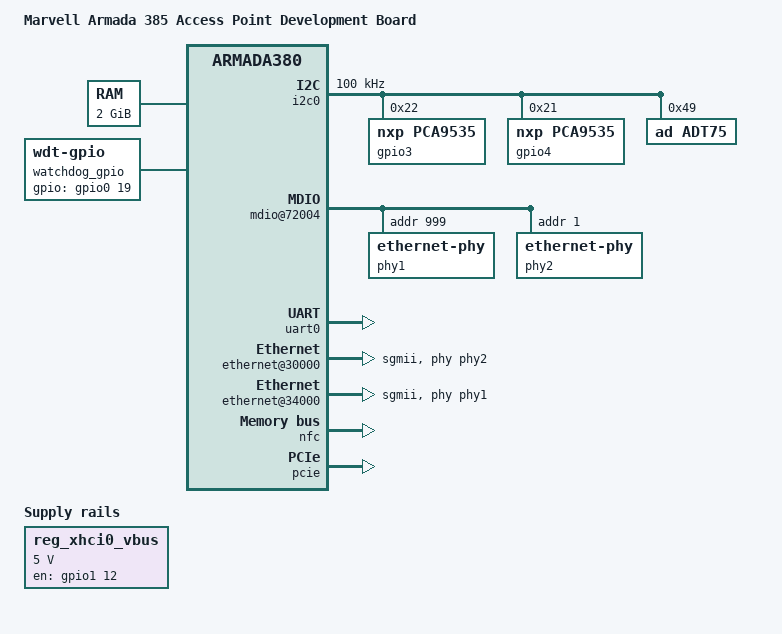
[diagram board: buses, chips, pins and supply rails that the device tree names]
/*
 * Device Tree file for Marvell Armada 385 PT6040 board
 * (DB-88F6820)
 *
 *  Copyright (C) 2014 Marvell
 *
 * Nadav Haklai <nadavh@marvell.com>
 *
 * This file is dual-licensed: you can use it either under the terms
 * of the GPL or the X11 license, at your option. Note that this dual
 * licensing only applies to this file, and not this project as a
 * whole.
 *
 *  a) This file is licensed under the terms of the GNU General Public
 *     License version 2.  This program is licensed "as is" without
 *     any warranty of any kind, whether express or implied.
 *
 * Or, alternatively,
 *
 *  b) Permission is hereby granted, free of charge, to any person
 *     obtaining a copy of this software and associated documentation
 *     files (the "Software"), to deal in the Software without
 *     restriction, including without limitation the rights to use,
 *     copy, modify, merge, publish, distribute, sublicense, and/or
 *     sell copies of the Software, and to permit persons to whom the
 *     Software is furnished to do so, subject to the following
 *     conditions:
 *
 *     The above copyright notice and this permission notice shall be
 *     included in all copies or substantial portions of the Software.
 *
 *     THE SOFTWARE IS PROVIDED "AS IS", WITHOUT WARRANTY OF ANY KIND,
 *     EXPRESS OR IMPLIED, INCLUDING BUT NOT LIMITED TO THE WARRANTIES
 *     OF MERCHANTABILITY, FITNESS FOR A PARTICULAR PURPOSE AND
 *     NONINFRINGEMENT. IN NO EVENT SHALL THE AUTHORS OR COPYRIGHT
 *     HOLDERS BE LIABLE FOR ANY CLAIM, DAMAGES OR OTHER LIABILITY,
 *     WHETHER IN AN ACTION OF CONTRACT, TORT OR OTHERWISE, ARISING
 *     FROM, OUT OF OR IN CONNECTION WITH THE SOFTWARE OR THE USE OR
 *     OTHER DEALINGS IN THE SOFTWARE.
 */

/dts-v1/;
#include "armada-385.dtsi"

#include <dt-bindings/gpio/gpio.h>

/ {
	model = "Marvell Armada 385 Access Point Development Board";
	compatible = "marvell,a385-db-ap", "marvell,armada385", "marvell,armada380";
	chosen {
		stdout-path = "serial1:115200n8";
	};
	memory {
		device_type = "memory";
		reg = <0x00000000 0x80000000>; /* 2GB */
	};
	soc {
		pcie-mem-aperture = <0xe0000000 0x8000000>;
		pcie-io-aperture = <0xe0000000 0x8000000>;
		ranges = <
			MBUS_ID(0x01, 0x2f) 0 0xfd000000 0x800000     /* NOR flash */
			MBUS_ID(0xf0, 0x01) 0 0xf1000000 0x100000
			MBUS_ID(0x01, 0x1d) 0 0xfff00000 0x100000
			MBUS_ID(0x0c, 0x04) 0 0xf1200000 0x100000     /* BM: PHYS=0xf1200000 size 1M */
			MBUS_ID(0x0b, 0x04) 0 0xf1300000 0x100000>;   /* PNC: PHYS=0xf1300000 size 1M */

		devbus-bootcs {
			status = "okay";
			/* Device Bus parameters are required */
			/* Read parameters */
			devbus,bus-width    = <8>;
			devbus,turn-off-ps  = <60000>;
			devbus,badr-skew-ps = <0>;
			devbus,acc-first-ps = <124000>;
			devbus,acc-next-ps  = <248000>;
			devbus,rd-setup-ps  = <0>;
			devbus,rd-hold-ps   = <0>;
			/* Write parameters */
			devbus,sync-enable = <0>;
			devbus,wr-high-ps  = <60000>;
			devbus,wr-low-ps   = <60000>;
			devbus,ale-wr-ps   = <60000>;
			nor@0 {
				compatible = "spansion,s29gl064n90bfi03", "cfi-flash";
				/* 8 MiB */
				reg = <0 0x800000>;
				bank-width = <1>;
				/* Persistent Protection Bit (PPB) support */
				use-advanced-sector-protection;
				#address-cells = <1>;
				#size-cells = <1>;
			};
		};
		internal-regs {

			usb3@f8000 {
				status = "disabled";
			};

			i2c0: i2c@11000 {
				status = "okay";
				clock-frequency = <100000>;
				gpio3: gpio@22 {
					compatible = "nxp,pca9535";
					reg = <0x22>;
					#gpio-cells = <2>;
					gpio-controller;
				};
				gpio4: gpio@21 {
					compatible = "nxp,pca9535";
					reg = <0x21>;
					#gpio-cells = <2>;
					gpio-controller;
				};
				adt75@49 {
					compatible = "ad,adt75";
					reg = <0x49>;
				};
			};
			i2c1: i2c@11100 {
				status = "disabled";
				clock-frequency = <100000>;
			};

			mdio@72004 {
				pinctrl-names = "default";
				pinctrl-0 = <&mdio_pins>;

				phy1: ethernet-phy@1 {
					reg = <999>;
				};

				phy2: ethernet-phy@2 {
					reg = <1>;
				};
			};

			/* UART0 is exposed through the JP8 connector */
			uart0: serial@12000 {
				pinctrl-names = "default";
				pinctrl-0 = <&uart0_pins>;
				status = "okay";
			};

			/*
			 * UART1 is exposed through a FTDI chip
			 * wired to the mini-USB connector
			 */
			uart1: serial@12100 {
				pinctrl-names = "default";
				pinctrl-0 = <&uart1_pins>;
				status = "disabled";
			};

			pinctrl@18000 {
				xhci0_vbus_pins: xhci0-vbus-pins {
					marvell,pins = "mpp44";
					marvell,function = "gpio";
				};
			};

			/* CON3 */
			ethernet@30000 {
				status = "okay";
				phy = <&phy2>;
				phy-mode = "sgmii";
				buffer-manager = <&bm>;
				bm,pool-long = <1>;
				bm,pool-short = <3>;
			};

			/* CON2 */
			ethernet@34000 {
				status = "okay";
				phy = <&phy1>;
				phy-mode = "sgmii";
				buffer-manager = <&bm>;
				bm,pool-long = <2>;
				bm,pool-short = <3>;
			};

			bm@c8000 {
				status = "okay";
			};

			nfc: flash@d0000 {
				status = "okay";
				num-cs = <1>;
				nand-ecc-strength = <4>;
				nand-ecc-step-size = <512>;
				marvell,nand-keep-config;
				marvell,nand-enable-arbiter;
				nand-on-flash-bbt;

				partitions {
					compatible = "fixed-partitions";
					#address-cells = <1>;
					#size-cells = <1>;

					partition@0 {
						label = "U-Boot";
						reg = <0x00000000 0x00800000>;
						read-only;
					};

					partition@800000 {
						label = "uImage";
						reg = <0x00800000 0x00400000>;
						read-only;
					};

					partition@c00000 {
						label = "Root";
						reg = <0x00c00000 0x3f400000>;
					};
				};
			};

		};

		bm-bppi {
			status = "okay";
		};

		pcie {
			status = "okay";

			/*
			 * The three PCIe units are accessible through
			 * standard mini-PCIe slots on the board.
			 */
			pcie@1,0 {
				/* Port 0, Lane 0 */
				status = "okay";
			};

			pcie@2,0 {
				/* Port 1, Lane 0 */
				status = "okay";
			};

			pcie@3,0 {
				/* Port 2, Lane 0 */
				status = "okay";
			};
		};

		watchdog_gpio: watchdog {
			compatible = "linux,wdt-gpio";
			gpios = <&gpio0 19 0>;
			hw_algo = "level";
			hw_margin_ms = <10000>;
			always-running;
		};
	};
	reg_xhci0_vbus: xhci0-vbus {
		compatible = "regulator-fixed";
		pinctrl-names = "default";
		pinctrl-0 = <&xhci0_vbus_pins>;
		regulator-name = "xhci0-vbus";
		regulator-min-microvolt = <5000000>;
		regulator-max-microvolt = <5000000>;
		enable-active-high;
		gpio = <&gpio1 12 GPIO_ACTIVE_HIGH>;
	};
};

